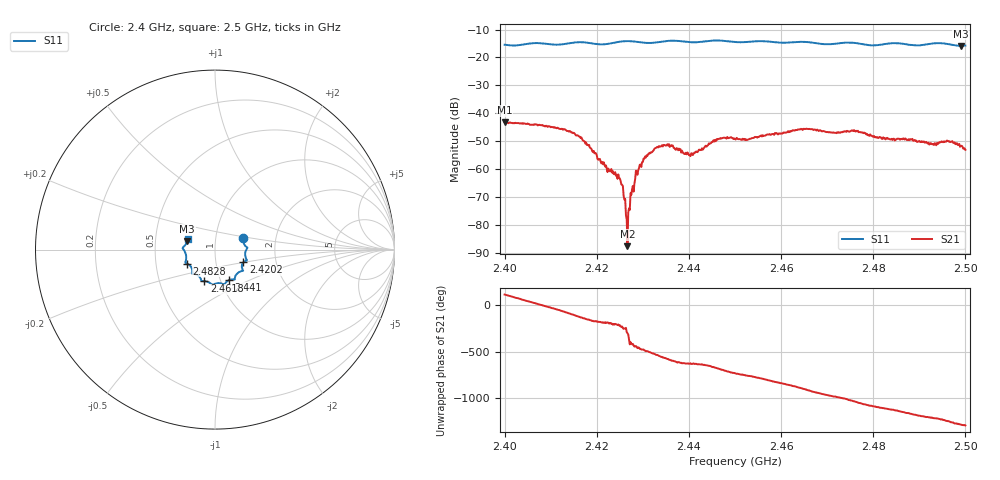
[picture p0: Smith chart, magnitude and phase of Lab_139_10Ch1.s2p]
# Hz S RI R 50
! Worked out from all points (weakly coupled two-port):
!   601 points, 2.4 GHz to 2.5 GHz, reference 50 ohm
!   highest |S21| = -43.20 dB at 2.4 GHz (marker M1); lowest = -87.7 dB at 2.4267 GHz (marker M2)
!   lowest |S11| = -15.8 dB at 2.499 GHz (marker M3), VSWR 1.39, Z = 36.5 + j3.47 ohm
!   |S11| at or under -10 dB: start of sweep to end of sweep
!   S12 and S22 are empty: the file has one direction only
!   S11 on the Smith chart (normalised r, x): 2.4 GHz: 1.36, +0.18; 2.4202 GHz: 1.36, -0.20; 2.441 GHz: 1.10, -0.39; 2.4618 GHz: 0.84, -0.31; 2.4828 GHz: 0.72, -0.12; 2.5 GHz: 0.73, +0.09
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2.4e9  0.1574 0.0628  -0.00284 0.00631  0 0  0 0
2.412833e9  0.1693 -0.038  0.00199 -0.00476  0 0  0 0
2.416667e9  0.1779 -0.06  -0.00246 -0.00275  0 0  0 0
2.420167e9  0.1582 -0.0707  -0.0015 -4.32e-05  0 0  0 0
2.425167e9  0.1551 -0.1141  -0.000416 0.000452  0 0  0 0
2.426333e9  0.1569 -0.1178  -6.79e-05 0.000132  0 0  0 0
2.426667e9  0.1569 -0.118  2.07e-05 3.59e-05  0 0  0 0
2.429e9  0.1457 -0.1205  -3.89e-05 -0.000955  0 0  0 0
2.430667e9  0.1298 -0.1282  -0.00109 -0.00118  0 0  0 0
2.433333e9  0.1121 -0.1511  -0.00243 -8.58e-05  0 0  0 0
2.435833e9  0.1102 -0.1659  -0.00177 0.00176  0 0  0 0
2.441e9  0.0786 -0.1696  -0.000185 0.00185  0 0  0 0
2.4465e9  0.0497 -0.195  0.00271 0.00218  0 0  0 0
2.45e9  0.0285 -0.1869  0.0034 -0.000558  0 0  0 0
2.461833e9  -0.0594 -0.1759  -0.00346 -0.00327  0 0  0 0
2.466667e9  -0.0778 -0.168  -0.00471 0.00216  0 0  0 0
2.476167e9  -0.1266 -0.13  0.00334 0.00331  0 0  0 0
2.482833e9  -0.1575 -0.0775  0.00309 -0.00172  0 0  0 0
2.483333e9  -0.1604 -0.0763  0.00293 -0.00193  0 0  0 0
2.4965e9  -0.1711 0.0189  -0.00297 -0.00079  0 0  0 0
2.499e9  -0.1548 0.0464  -0.00247 0.00088  0 0  0 0
2.5e9  -0.1517 0.0609  -0.00193 0.00107  0 0  0 0
